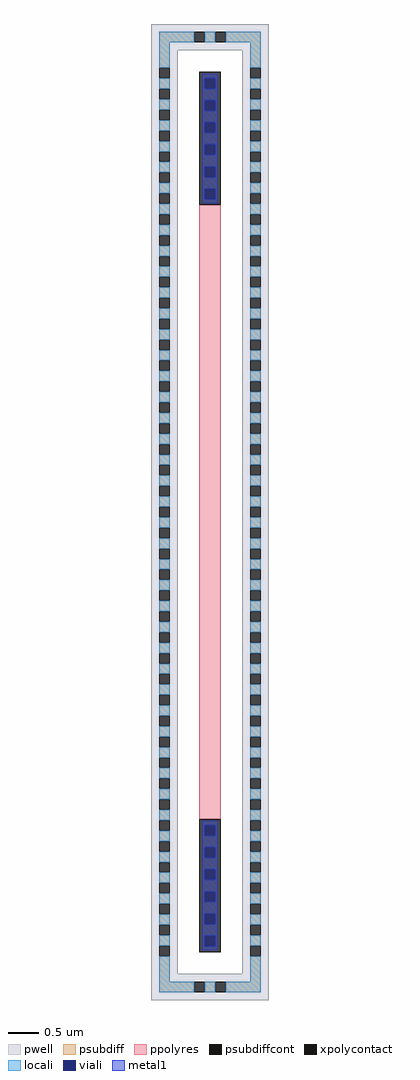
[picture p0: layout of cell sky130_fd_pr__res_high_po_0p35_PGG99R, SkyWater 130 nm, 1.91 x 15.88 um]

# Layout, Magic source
magic
tech sky130A
magscale 1 2
<< pwell >>
rect -191 1502 191 1588
rect -191 -1502 -105 1502
rect 105 -1502 191 1502
rect -191 -1588 191 -1502
<< psubdiff >>
rect -165 1528 -51 1562
rect -17 1528 17 1562
rect 51 1528 165 1562
rect -165 1445 -131 1528
rect 131 1445 165 1528
rect -165 1377 -131 1411
rect -165 1309 -131 1343
rect -165 1241 -131 1275
rect -165 1173 -131 1207
rect -165 1105 -131 1139
rect -165 1037 -131 1071
rect -165 969 -131 1003
rect -165 901 -131 935
rect -165 833 -131 867
rect -165 765 -131 799
rect -165 697 -131 731
rect -165 629 -131 663
rect -165 561 -131 595
rect -165 493 -131 527
rect -165 425 -131 459
rect -165 357 -131 391
rect -165 289 -131 323
rect -165 221 -131 255
rect -165 153 -131 187
rect -165 85 -131 119
rect -165 17 -131 51
rect -165 -51 -131 -17
rect -165 -119 -131 -85
rect -165 -187 -131 -153
rect -165 -255 -131 -221
rect -165 -323 -131 -289
rect -165 -391 -131 -357
rect -165 -459 -131 -425
rect -165 -527 -131 -493
rect -165 -595 -131 -561
rect -165 -663 -131 -629
rect -165 -731 -131 -697
rect -165 -799 -131 -765
rect -165 -867 -131 -833
rect -165 -935 -131 -901
rect -165 -1003 -131 -969
rect -165 -1071 -131 -1037
rect -165 -1139 -131 -1105
rect -165 -1207 -131 -1173
rect -165 -1275 -131 -1241
rect -165 -1343 -131 -1309
rect -165 -1411 -131 -1377
rect 131 1377 165 1411
rect 131 1309 165 1343
rect 131 1241 165 1275
rect 131 1173 165 1207
rect 131 1105 165 1139
rect 131 1037 165 1071
rect 131 969 165 1003
rect 131 901 165 935
rect 131 833 165 867
rect 131 765 165 799
rect 131 697 165 731
rect 131 629 165 663
rect 131 561 165 595
rect 131 493 165 527
rect 131 425 165 459
rect 131 357 165 391
rect 131 289 165 323
rect 131 221 165 255
rect 131 153 165 187
rect 131 85 165 119
rect 131 17 165 51
rect 131 -51 165 -17
rect 131 -119 165 -85
rect 131 -187 165 -153
rect 131 -255 165 -221
rect 131 -323 165 -289
rect 131 -391 165 -357
rect 131 -459 165 -425
rect 131 -527 165 -493
rect 131 -595 165 -561
rect 131 -663 165 -629
rect 131 -731 165 -697
rect 131 -799 165 -765
rect 131 -867 165 -833
rect 131 -935 165 -901
rect 131 -1003 165 -969
rect 131 -1071 165 -1037
rect 131 -1139 165 -1105
rect 131 -1207 165 -1173
rect 131 -1275 165 -1241
rect 131 -1343 165 -1309
rect 131 -1411 165 -1377
rect -165 -1528 -131 -1445
rect 131 -1528 165 -1445
rect -165 -1562 -51 -1528
rect -17 -1562 17 -1528
rect 51 -1562 165 -1528
<< psubdiffcont >>
rect -51 1528 -17 1562
rect 17 1528 51 1562
rect -165 1411 -131 1445
rect -165 1343 -131 1377
rect -165 1275 -131 1309
rect -165 1207 -131 1241
rect -165 1139 -131 1173
rect -165 1071 -131 1105
rect -165 1003 -131 1037
rect -165 935 -131 969
rect -165 867 -131 901
rect -165 799 -131 833
rect -165 731 -131 765
rect -165 663 -131 697
rect -165 595 -131 629
rect -165 527 -131 561
rect -165 459 -131 493
rect -165 391 -131 425
rect -165 323 -131 357
rect -165 255 -131 289
rect -165 187 -131 221
rect -165 119 -131 153
rect -165 51 -131 85
rect -165 -17 -131 17
rect -165 -85 -131 -51
rect -165 -153 -131 -119
rect -165 -221 -131 -187
rect -165 -289 -131 -255
rect -165 -357 -131 -323
rect -165 -425 -131 -391
rect -165 -493 -131 -459
rect -165 -561 -131 -527
rect -165 -629 -131 -595
rect -165 -697 -131 -663
rect -165 -765 -131 -731
rect -165 -833 -131 -799
rect -165 -901 -131 -867
rect -165 -969 -131 -935
rect -165 -1037 -131 -1003
rect -165 -1105 -131 -1071
rect -165 -1173 -131 -1139
rect -165 -1241 -131 -1207
rect -165 -1309 -131 -1275
rect -165 -1377 -131 -1343
rect -165 -1445 -131 -1411
rect 131 1411 165 1445
rect 131 1343 165 1377
rect 131 1275 165 1309
rect 131 1207 165 1241
rect 131 1139 165 1173
rect 131 1071 165 1105
rect 131 1003 165 1037
rect 131 935 165 969
rect 131 867 165 901
rect 131 799 165 833
rect 131 731 165 765
rect 131 663 165 697
rect 131 595 165 629
rect 131 527 165 561
rect 131 459 165 493
rect 131 391 165 425
rect 131 323 165 357
rect 131 255 165 289
rect 131 187 165 221
rect 131 119 165 153
rect 131 51 165 85
rect 131 -17 165 17
rect 131 -85 165 -51
rect 131 -153 165 -119
rect 131 -221 165 -187
rect 131 -289 165 -255
rect 131 -357 165 -323
rect 131 -425 165 -391
rect 131 -493 165 -459
rect 131 -561 165 -527
rect 131 -629 165 -595
rect 131 -697 165 -663
rect 131 -765 165 -731
rect 131 -833 165 -799
rect 131 -901 165 -867
rect 131 -969 165 -935
rect 131 -1037 165 -1003
rect 131 -1105 165 -1071
rect 131 -1173 165 -1139
rect 131 -1241 165 -1207
rect 131 -1309 165 -1275
rect 131 -1377 165 -1343
rect 131 -1445 165 -1411
rect -51 -1562 -17 -1528
rect 17 -1562 51 -1528
<< xpolycontact >>
rect -35 1000 35 1432
rect -35 -1432 35 -1000
<< ppolyres >>
rect -35 -1000 35 1000
<< locali >>
rect -165 1528 -51 1562
rect -17 1528 17 1562
rect 51 1528 165 1562
rect -165 1445 -131 1528
rect 131 1445 165 1528
rect -165 1377 -131 1411
rect -165 1309 -131 1343
rect -165 1241 -131 1275
rect -165 1173 -131 1207
rect -165 1105 -131 1139
rect -165 1037 -131 1071
rect -165 969 -131 1003
rect 131 1377 165 1411
rect 131 1309 165 1343
rect 131 1241 165 1275
rect 131 1173 165 1207
rect 131 1105 165 1139
rect 131 1037 165 1071
rect -165 901 -131 935
rect -165 833 -131 867
rect -165 765 -131 799
rect -165 697 -131 731
rect -165 629 -131 663
rect -165 561 -131 595
rect -165 493 -131 527
rect -165 425 -131 459
rect -165 357 -131 391
rect -165 289 -131 323
rect -165 221 -131 255
rect -165 153 -131 187
rect -165 85 -131 119
rect -165 17 -131 51
rect -165 -51 -131 -17
rect -165 -119 -131 -85
rect -165 -187 -131 -153
rect -165 -255 -131 -221
rect -165 -323 -131 -289
rect -165 -391 -131 -357
rect -165 -459 -131 -425
rect -165 -527 -131 -493
rect -165 -595 -131 -561
rect -165 -663 -131 -629
rect -165 -731 -131 -697
rect -165 -799 -131 -765
rect -165 -867 -131 -833
rect -165 -935 -131 -901
rect -165 -1003 -131 -969
rect 131 969 165 1003
rect 131 901 165 935
rect 131 833 165 867
rect 131 765 165 799
rect 131 697 165 731
rect 131 629 165 663
rect 131 561 165 595
rect 131 493 165 527
rect 131 425 165 459
rect 131 357 165 391
rect 131 289 165 323
rect 131 221 165 255
rect 131 153 165 187
rect 131 85 165 119
rect 131 17 165 51
rect 131 -51 165 -17
rect 131 -119 165 -85
rect 131 -187 165 -153
rect 131 -255 165 -221
rect 131 -323 165 -289
rect 131 -391 165 -357
rect 131 -459 165 -425
rect 131 -527 165 -493
rect 131 -595 165 -561
rect 131 -663 165 -629
rect 131 -731 165 -697
rect 131 -799 165 -765
rect 131 -867 165 -833
rect 131 -935 165 -901
rect -165 -1071 -131 -1037
rect -165 -1139 -131 -1105
rect -165 -1207 -131 -1173
rect -165 -1275 -131 -1241
rect -165 -1343 -131 -1309
rect -165 -1411 -131 -1377
rect 131 -1003 165 -969
rect 131 -1071 165 -1037
rect 131 -1139 165 -1105
rect 131 -1207 165 -1173
rect 131 -1275 165 -1241
rect 131 -1343 165 -1309
rect 131 -1411 165 -1377
rect -165 -1528 -131 -1445
rect 131 -1528 165 -1445
rect -165 -1562 -51 -1528
rect -17 -1562 17 -1528
rect 51 -1562 165 -1528
<< viali >>
rect -17 1378 17 1412
rect -17 1306 17 1340
rect -17 1234 17 1268
rect -17 1162 17 1196
rect -17 1090 17 1124
rect -17 1018 17 1052
rect -17 -1053 17 -1019
rect -17 -1125 17 -1091
rect -17 -1197 17 -1163
rect -17 -1269 17 -1235
rect -17 -1341 17 -1307
rect -17 -1413 17 -1379
<< metal1 >>
rect -25 1412 25 1426
rect -25 1378 -17 1412
rect 17 1378 25 1412
rect -25 1340 25 1378
rect -25 1306 -17 1340
rect 17 1306 25 1340
rect -25 1268 25 1306
rect -25 1234 -17 1268
rect 17 1234 25 1268
rect -25 1196 25 1234
rect -25 1162 -17 1196
rect 17 1162 25 1196
rect -25 1124 25 1162
rect -25 1090 -17 1124
rect 17 1090 25 1124
rect -25 1052 25 1090
rect -25 1018 -17 1052
rect 17 1018 25 1052
rect -25 1005 25 1018
rect -25 -1019 25 -1005
rect -25 -1053 -17 -1019
rect 17 -1053 25 -1019
rect -25 -1091 25 -1053
rect -25 -1125 -17 -1091
rect 17 -1125 25 -1091
rect -25 -1163 25 -1125
rect -25 -1197 -17 -1163
rect 17 -1197 25 -1163
rect -25 -1235 25 -1197
rect -25 -1269 -17 -1235
rect 17 -1269 25 -1235
rect -25 -1307 25 -1269
rect -25 -1341 -17 -1307
rect 17 -1341 25 -1307
rect -25 -1379 25 -1341
rect -25 -1413 -17 -1379
rect 17 -1413 25 -1379
rect -25 -1426 25 -1413
<< properties >>
string FIXED_BBOX -148 -1545 148 1545
<< end >>
